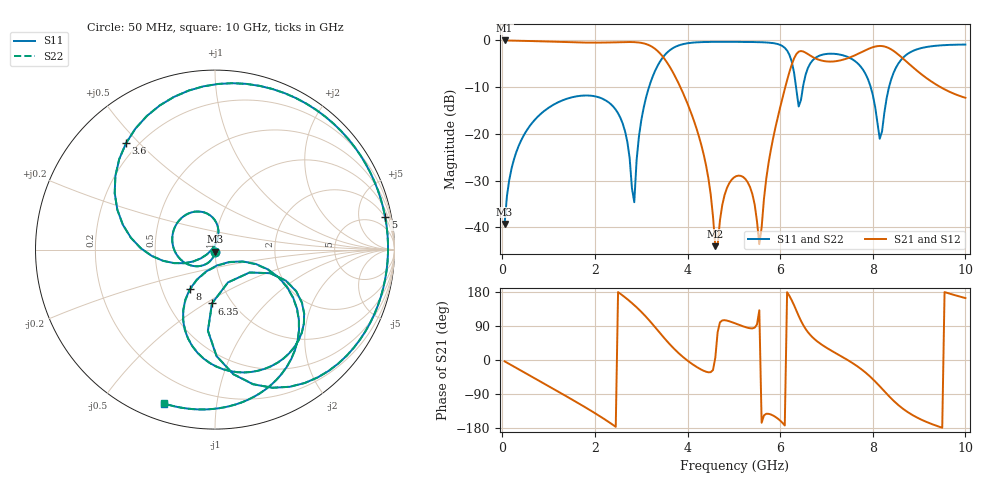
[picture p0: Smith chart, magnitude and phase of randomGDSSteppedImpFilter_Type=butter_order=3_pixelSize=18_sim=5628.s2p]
! freq	dB(S11)	phase(S11)	dB(S12)	phase(S12)
!  dB(S21)	phase(S21)	dB(S22)	phase(S22)
!S-par simulation data
#  GHz  S  DB  R 50
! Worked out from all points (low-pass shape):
!   200 points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, 50 MHz to 10 GHz, reference 50 ohm
!   highest |S21| = -0.01 dB at 50 MHz (marker M1); lowest = -44.0 dB at 4.6 GHz (marker M2)
!   |S21| within 3 dB of the highest: start of sweep to 3.426 GHz; 7.653 GHz to 8.55 GHz (896.9 MHz wide, 11.1 % of centre) (the widest 2 of 3)
!   lowest |S11| = -39.3 dB at 50 MHz (marker M3), VSWR 1.02, Z = 50 - j1.09 ohm
!   |S11| at or under -10 dB: start of sweep to 3.168 GHz; 6.344 GHz to 6.493 GHz (148.7 MHz wide, 2.32 % of centre); 7.956 GHz to 8.35 GHz (394.7 MHz wide, 4.84 % of centre)
!   |S22| runs from -39.3 to -0.3 dB; largest |S21 - S12| = 0
!   S11 on the Smith chart (normalised r, x): 50 MHz: 1.00, -0.02; 3.6 GHz: 0.16, +0.46; 5 GHz: 2, +10; 6.35 GHz: 0.81, -0.53; 8 GHz: 0.69, -0.33; 10 GHz: 0.08, -0.72
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0.05  -39.25 -91.9  -0.01 -3.5  -0.01 -3.5  -39.25 -91.9
0.5  -19.70 -125.0  -0.10 -34.6  -0.10 -34.6  -19.70 -125.0
1.75  -11.80 147.7  -0.46 -121.8  -0.46 -121.8  -11.80 147.7
2.55  -16.55 86.9  -0.37 174.8  -0.37 174.8  -16.55 86.9
2.85  -34.62 -177.3  -0.37 144.8  -0.37 144.8  -34.61 -177.3
3  -17.16 -151.4  -0.52 127.3  -0.52 127.3  -17.16 -151.4
3.4  -4.61 157.8  -2.72 72.0  -2.72 72.0  -4.61 157.8
3.6  -2.24 129.9  -5.39 43.8  -5.39 43.8  -2.24 129.9
4.3  -0.36 58.0  -22.46 -25.6  -22.46 -25.6  -0.36 58.0
4.6  -0.31 36.2  -44.02 6.1  -44.02 6.1  -0.31 36.2
5  -0.31 10.8  -29.35 98.0  -29.35 98.0  -0.31 10.9
5.05  -0.31 7.8  -29.05 95.7  -29.05 95.7  -0.31 7.9
5.55  -0.37 -22.1  -43.58 131.2  -43.58 131.2  -0.37 -22.0
6.1  -1.58 -67.5  -10.39 -172.8  -10.39 -172.8  -1.58 -67.4
6.35  -10.44 -93.3  -2.92 130.5  -2.92 130.5  -10.43 -93.2
6.7  -4.28 -35.7  -3.54 59.8  -3.54 59.8  -4.28 -35.6
7.35  -3.17 -79.7  -4.15 7.6  -4.15 7.6  -3.17 -79.7
8  -11.64 -122.4  -1.46 -50.4  -1.46 -50.4  -11.63 -122.1
8.15  -21.04 -82.8  -1.18 -69.2  -1.18 -69.2  -20.91 -82.6
8.35  -10.01 -20.5  -1.66 -95.4  -1.66 -95.4  -10.00 -20.7
9.05  -1.63 -70.2  -7.24 -157.5  -7.24 -157.5  -1.63 -70.3
10  -0.88 -108.3  -12.27 163.3  -12.27 163.3  -0.88 -108.3
